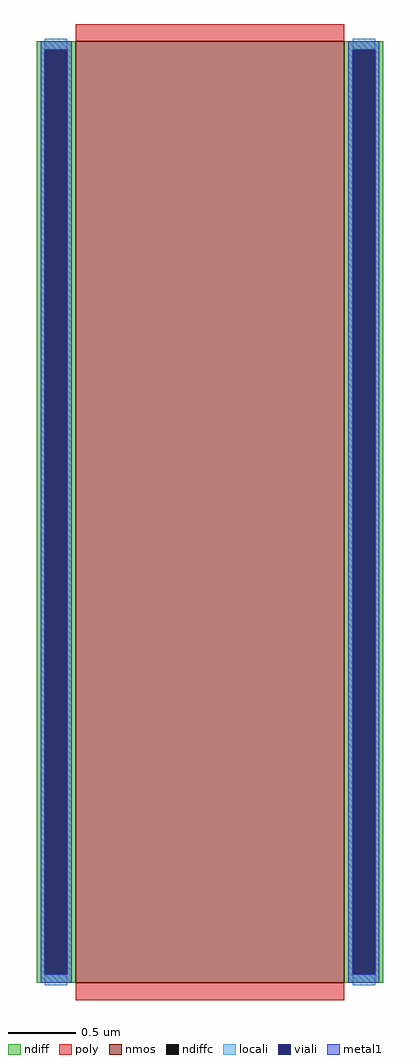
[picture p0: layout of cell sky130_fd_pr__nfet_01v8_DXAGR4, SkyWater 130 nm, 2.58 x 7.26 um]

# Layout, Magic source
magic
tech sky130A
<< nmos >>
rect -100 -350 100 350
<< ndiff >>
rect -129 344 -100 350
rect -129 -344 -123 344
rect -106 -344 -100 344
rect -129 -350 -100 -344
rect 100 344 129 350
rect 100 -344 106 344
rect 123 -344 129 344
rect 100 -350 129 -344
<< ndiffc >>
rect -123 -344 -106 344
rect 106 -344 123 344
<< poly >>
rect -100 350 100 363
rect -100 -363 100 -350
<< locali >>
rect -123 344 -106 352
rect -123 -352 -106 -344
rect 106 344 123 352
rect 106 -352 123 -344
<< viali >>
rect -123 -344 -106 344
rect 106 -344 123 344
<< metal1 >>
rect -126 344 -103 350
rect -126 -344 -123 344
rect -106 -344 -103 344
rect -126 -350 -103 -344
rect 103 344 126 350
rect 103 -344 106 344
rect 123 -344 126 344
rect 103 -350 126 -344
<< properties >>
string gencell sky130_fd_pr__nfet_01v8
string library sky130
string parameters w 7.0 l 2.0 m 1 nf 1 diffcov 100 polycov 100 guard 0 glc 0 grc 0 gtc 0 gbc 0 tbcov 100 rlcov 100 topc 0 botc 0 poverlap 0 doverlap 0 lmin 0.15 wmin 0.42 compatible {sky130_fd_pr__nfet_01v8 sky130_fd_pr__nfet_01v8_lvt  sky130_fd_bs_flash__special_sonosfet_star  sky130_fd_pr__nfet_g5v0d10v5 sky130_fd_pr__nfet_05v0_nvt  sky130_fd_pr__nfet_03v3_nvt} full_metal 0 viasrc 100 viadrn 100 viagate 100 viagb 0 viagr 0 viagl 0 viagt 0
<< end >>
